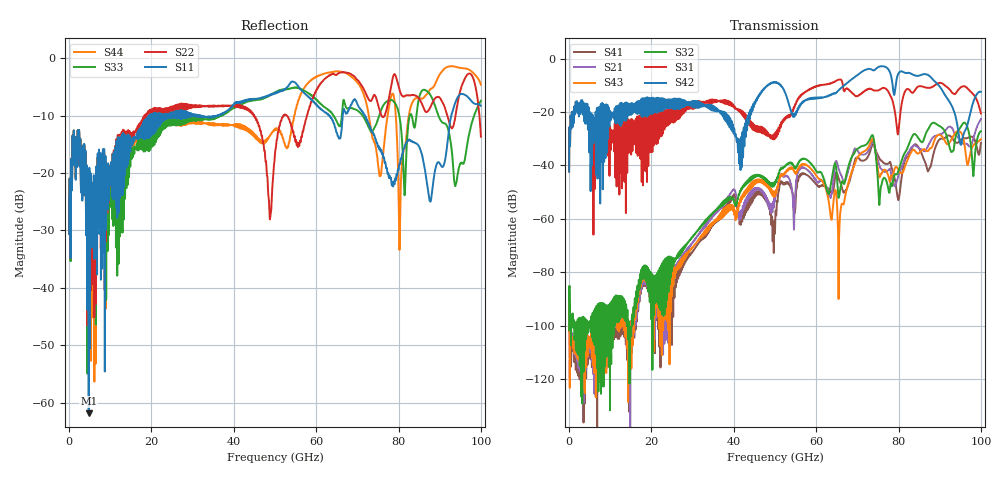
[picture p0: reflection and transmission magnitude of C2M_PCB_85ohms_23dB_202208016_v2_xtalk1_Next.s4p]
! Info: Touchstone file created by Circ.  Input file=Intel_C2M_200G_9p0in_202208016_staggered.circ
# Hz S RI R 50
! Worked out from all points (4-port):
!   10000 points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, 10 MHz to 100 GHz, reference 50 ohm
!   strongest paths, dB at 10 MHz, 25.01 GHz, 50.01 GHz, 75.01 GHz, 100 GHz:
!     S42: -42.3, -18.6, -9.0, -3.3, -12.5
!     S31: -42.4, -23.8, -29.3, -12.0, -20.6
!     S32: -101.8, -79.6, -47.2, -46.3, -27.2
!     S43: -91.3, -88.4, -51.3, -41.8, -30.2
!     S21: -90.9, -84.4, -53.2, -38.2, -22.7
!     S41: -90.2, -85.4, -65.0, -36.3, -31.6
!   lowest |S11| = -61.9 dB at 4.77 GHz (marker M1), VSWR 1.00, Z = 49.9 + j0.0427 ohm
!   |S11| at or under -10 dB: start of sweep to 19.55 GHz; 31.98 GHz to 35.95 GHz (3.972 GHz wide, 11.7 % of centre); 71.84 GHz to 92.81 GHz (20.97 GHz wide, 25.5 % of centre)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
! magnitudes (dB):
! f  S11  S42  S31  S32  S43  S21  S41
! 10 MHz  -30.6  -42.3  -42.4  -101.8  -91.3  -90.9  -90.2
! 4.77 GHz  -61.9  -18.8  -19.9  -100.4  -107.6  -108.1  -111.4
! 41.49 GHz  -7.6  -30.4  -19.9  -49.5  -52.8  -58.3  -60.2
! 48.75 GHz  -6.5  -9.4  -29.6  -47.3  -48.7  -56.9  -56.2
! 76.09 GHz  -16.6  -2.9  -11.0  -45.7  -42.4  -41.9  -38.6
! 95.19 GHz  -6.2  -32.3  -10.8  -25.3  -27.7  -31.2  -30.3
! 100 GHz  -8.3  -12.5  -20.6  -27.2  -30.2  -22.7  -31.6
